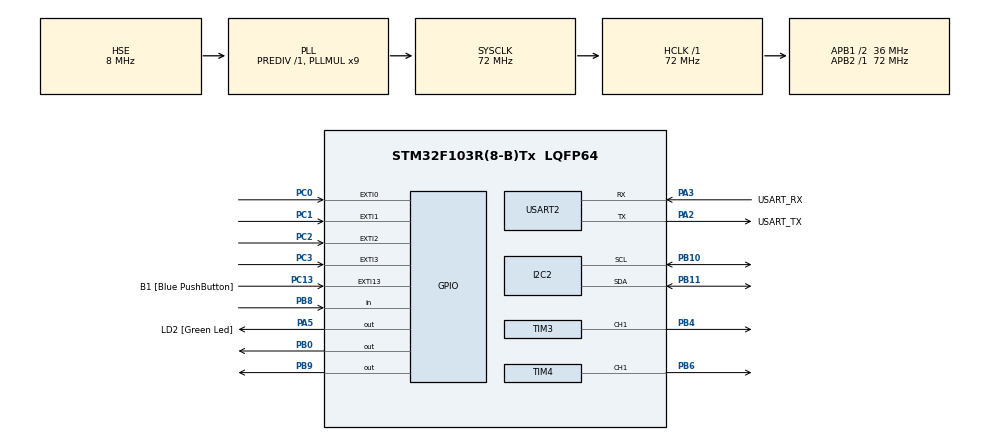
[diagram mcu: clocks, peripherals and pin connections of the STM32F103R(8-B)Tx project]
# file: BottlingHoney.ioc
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Dma.I2C2_TX.0.Direction=DMA_MEMORY_TO_PERIPH
Dma.I2C2_TX.0.Instance=DMA1_Channel4
Dma.I2C2_TX.0.MemDataAlignment=DMA_MDATAALIGN_BYTE
Dma.I2C2_TX.0.MemInc=DMA_MINC_DISABLE
Dma.I2C2_TX.0.Mode=DMA_NORMAL
Dma.I2C2_TX.0.PeriphDataAlignment=DMA_PDATAALIGN_BYTE
Dma.I2C2_TX.0.PeriphInc=DMA_PINC_DISABLE
Dma.I2C2_TX.0.Priority=DMA_PRIORITY_LOW
Dma.Request0=I2C2_TX
I2C2.I2C_Mode=I2C_Fast
Mcu.Family=STM32F1
Mcu.Name=STM32F103R(8-B)Tx
Mcu.Package=LQFP64
NVIC.DMA1_Channel4_IRQn=true\:0\:0\:false\:false\:true\:false\:true\:true
NVIC.EXTI0_IRQn=true\:0\:0\:false\:true\:true\:2\:true\:true\:true
NVIC.EXTI15_10_IRQn=true\:0\:0\:false\:true\:true\:1\:true\:true\:true
NVIC.EXTI1_IRQn=true\:1\:0\:true\:true\:true\:3\:true\:true\:true
NVIC.EXTI2_IRQn=true\:1\:0\:true\:true\:true\:4\:true\:true\:true
NVIC.EXTI3_IRQn=true\:1\:0\:true\:true\:true\:5\:true\:true\:true
NVIC.PriorityGroup=NVIC_PRIORITYGROUP_4
NVIC.TIM4_IRQn=true\:0\:0\:false\:false\:true\:true\:true\:true
PA13.GPIO_Label=TMS
PA13.Mode=Serial_Wire
PA13.Signal=SYS_JTMS-SWDIO
PA14.GPIO_Label=TCK
PA14.Mode=Serial_Wire
PA14.Signal=SYS_JTCK-SWCLK
PA2.GPIO_Label=USART_TX
PA2.GPIO_Mode=GPIO_MODE_AF_PP
PA2.GPIO_PuPd=GPIO_NOPULL
PA2.GPIO_Speed=GPIO_SPEED_FREQ_LOW
PA2.Mode=Asynchronous
PA2.Signal=USART2_TX
PA3.GPIO_Label=USART_RX
PA3.GPIO_Mode=GPIO_MODE_AF_PP
PA3.GPIO_PuPd=GPIO_NOPULL
PA3.GPIO_Speed=GPIO_SPEED_FREQ_LOW
PA3.Mode=Asynchronous
PA3.Signal=USART2_RX
PA5.GPIO_Label=LD2 [Green Led]
PA5.GPIO_ModeDefaultOutputPP=GPIO_MODE_OUTPUT_PP
PA5.GPIO_PuPd=GPIO_NOPULL
PA5.GPIO_Speed=GPIO_SPEED_FREQ_LOW
PA5.Signal=GPIO_Output
PB0.Signal=GPIO_Output
PB10.Mode=I2C
PB10.Signal=I2C2_SCL
PB11.Mode=I2C
PB11.Signal=I2C2_SDA
PB3.GPIO_Label=SWO
PB3.Signal=SYS_JTDO-TRACESWO
PB4.Signal=S_TIM3_CH1
PB6.Signal=S_TIM4_CH1
PB8.Signal=GPIO_Input
PB9.Signal=GPIO_Output
PC0.GPIO_ModeDefaultEXTI=GPIO_MODE_IT_FALLING
PC0.GPIO_PuPd=GPIO_PULLUP
PC0.Signal=GPXTI0
PC1.GPIO_ModeDefaultEXTI=GPIO_MODE_IT_FALLING
PC1.GPIO_PuPd=GPIO_PULLUP
PC1.Signal=GPXTI1
PC13-TAMPER-RTC.GPIO_Label=B1 [Blue PushButton]
PC13-TAMPER-RTC.GPIO_PuPd=GPIO_NOPULL
PC13-TAMPER-RTC.Signal=GPXTI13
PC14-OSC32_IN.Mode=LSE-External-Oscillator
PC14-OSC32_IN.Signal=RCC_OSC32_IN
PC15-OSC32_OUT.Mode=LSE-External-Oscillator
PC15-OSC32_OUT.Signal=RCC_OSC32_OUT
PC2.GPIO_ModeDefaultEXTI=GPIO_MODE_IT_FALLING
PC2.GPIO_PuPd=GPIO_PULLUP
PC2.Signal=GPXTI2
PC3.GPIO_ModeDefaultEXTI=GPIO_MODE_IT_FALLING
PC3.GPIO_PuPd=GPIO_PULLUP
PC3.Signal=GPXTI3
PD0-OSC_IN.Mode=HSE-External-Clock-Source
PD0-OSC_IN.Signal=RCC_OSC_IN
PD1-OSC_OUT.Mode=HSE-External-Clock-Source
PD1-OSC_OUT.Signal=RCC_OSC_OUT
ProjectManager.HeapSize=0x200
ProjectManager.StackSize=0x400
ProjectManager.TargetToolchain=STM32CubeIDE
RCC.AHBFreq_Value=72000000
RCC.APB1CLKDivider=RCC_HCLK_DIV2
RCC.APB1Freq_Value=36000000
RCC.APB1TimFreq_Value=72000000
RCC.APB2Freq_Value=72000000
RCC.APB2TimFreq_Value=72000000
RCC.HCLKFreq_Value=72000000
RCC.PLLMUL=RCC_PLL_MUL9
RCC.PLLSourceVirtual=RCC_PLLSOURCE_HSE
RCC.RTCClockSelection=RCC_RTCCLKSOURCE_LSE
RCC.SYSCLKFreq_VALUE=72000000
RCC.SYSCLKSource=RCC_SYSCLKSOURCE_PLLCLK
RCC.USBFreq_Value=72000000
SH.S_TIM3_CH1.0=TIM3_CH1,PWM Generation1 CH1
SH.S_TIM4_CH1.0=TIM4_CH1,PWM Generation1 CH1
TIM2.Prescaler=71
TIM3.Channel-PWM\ Generation1\ CH1=TIM_CHANNEL_1
TIM3.Period=20000
TIM3.Prescaler=71
TIM3.Pulse-PWM\ Generation1\ CH1=1000
TIM4.Channel-PWM\ Generation1\ CH1=TIM_CHANNEL_1
TIM4.Period=20000
TIM4.Prescaler=71
USART2.VirtualMode=VM_ASYNC
VP_TIM2_VS_ClockSourceINT.Mode=Internal
VP_TIM3_VS_ClockSourceINT.Mode=Internal
VP_TIM4_VS_ClockSourceINT.Mode=Internal
board=NUCLEO-F103RB

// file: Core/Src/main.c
/* USER CODE BEGIN Header */
/**
  ******************************************************************************
  * @file           : main.c
  * @brief          : Main program body
  ******************************************************************************
  * @attention
  *
  * Copyright (c) 2025 STMicroelectronics.
  * All rights reserved.
  *
  * This software is licensed under terms that can be found in the LICENSE file
  * in the root directory of this software component.
  * If no LICENSE file comes with this software, it is provided AS-IS.
  *
  ******************************************************************************
  */
/* USER CODE END Header */
#include "main.h"
#include "dma.h"
#include "i2c.h"
#include "tim.h"
#include "usart.h"
#include "gpio.h"

/* USER CODE BEGIN Includes */

#include "SSD1306_OLED.h"
//#include "fonts/fonts.h"
#include "GFX_BW.h"
#include <stdio.h>
#include <string.h>
#include "Eeprom.h"
#include "Servo.h"
#include "Honey_StateMachine.h"
#include "Button.h"

uint32_t tare = 0;
float knownOriginal = 1;  // in milli gram
float knownHX711 = 1;
int weight;

uint8_t Value;
uint8_t ToEeprom[] = {38,40};
uint8_t FromEeprom[2] = {};

TCalibration CallibrationTmp = {8731630,439};
TCalibration CallibrationTmp2;

THoney Honey;
extern TButton ButtonOne;
extern TButton ButtonTwo;
extern TButton ButtonThree;
extern TButton ButtonFour;

/* USER CODE END Includes */

void SystemClock_Config(void);
static void MX_NVIC_Init(void);

int main(void)
{

  /* MCU Configuration--------------------------------------------------------*/

  /* Reset of all peripherals, Initializes the Flash interface and the Systick. */
  HAL_Init();

  /* Configure the system clock */
  SystemClock_Config();

  /* Initialize all configured peripherals */
  MX_GPIO_Init();
  MX_DMA_Init();
  MX_USART2_UART_Init();
  MX_TIM2_Init();
  MX_TIM3_Init();
  MX_I2C2_Init();
  MX_TIM4_Init();

  /* Initialize interrupts */
  MX_NVIC_Init();
  /* USER CODE BEGIN 2 */
  HoneyInit(&Honey);
  /* USER CODE END 2 */

  /* Infinite loop */
  while (1)
  {

    /* USER CODE BEGIN 3 */
	  HoneyTask(&Honey);

  }
  /* USER CODE END 3 */
}

void SystemClock_Config(void)
{
  RCC_OscInitTypeDef RCC_OscInitStruct = {0};
  RCC_ClkInitTypeDef RCC_ClkInitStruct = {0};

  /** Initializes the RCC Oscillators according to the specified parameters
  * in the RCC_OscInitTypeDef structure.
  */
  RCC_OscInitStruct.OscillatorType = RCC_OSCILLATORTYPE_HSE;
  RCC_OscInitStruct.HSEState = RCC_HSE_BYPASS;
  RCC_OscInitStruct.HSEPredivValue = RCC_HSE_PREDIV_DIV1;
  RCC_OscInitStruct.HSIState = RCC_HSI_ON;
  RCC_OscInitStruct.PLL.PLLState = RCC_PLL_ON;
  RCC_OscInitStruct.PLL.PLLSource = RCC_PLLSOURCE_HSE;
  RCC_OscInitStruct.PLL.PLLMUL = RCC_PLL_MUL9;
  if (HAL_RCC_OscConfig(&RCC_OscInitStruct) != HAL_OK)
  {
    Error_Handler();
  }

  /** Initializes the CPU, AHB and APB buses clocks
  */
  RCC_ClkInitStruct.ClockType = RCC_CLOCKTYPE_HCLK|RCC_CLOCKTYPE_SYSCLK
                              |RCC_CLOCKTYPE_PCLK1|RCC_CLOCKTYPE_PCLK2;
  RCC_ClkInitStruct.SYSCLKSource = RCC_SYSCLKSOURCE_PLLCLK;
  RCC_ClkInitStruct.AHBCLKDivider = RCC_SYSCLK_DIV1;
  RCC_ClkInitStruct.APB1CLKDivider = RCC_HCLK_DIV2;
  RCC_ClkInitStruct.APB2CLKDivider = RCC_HCLK_DIV1;

  if (HAL_RCC_ClockConfig(&RCC_ClkInitStruct, FLASH_LATENCY_2) != HAL_OK)
  {
    Error_Handler();
  }
}

/**
  * @brief NVIC Configuration.
  * @retval None
  */
static void MX_NVIC_Init(void)
{
  /* EXTI15_10_IRQn interrupt configuration */
  HAL_NVIC_SetPriority(EXTI15_10_IRQn, 0, 0);
  HAL_NVIC_EnableIRQ(EXTI15_10_IRQn);
  /* EXTI0_IRQn interrupt configuration */
  HAL_NVIC_SetPriority(EXTI0_IRQn, 0, 0);
  HAL_NVIC_EnableIRQ(EXTI0_IRQn);
  /* EXTI1_IRQn interrupt configuration */
  HAL_NVIC_SetPriority(EXTI1_IRQn, 1, 0);
  HAL_NVIC_EnableIRQ(EXTI1_IRQn);
  /* EXTI2_IRQn interrupt configuration */
  HAL_NVIC_SetPriority(EXTI2_IRQn, 1, 0);
  HAL_NVIC_EnableIRQ(EXTI2_IRQn);
  /* EXTI3_IRQn interrupt configuration */
  HAL_NVIC_SetPriority(EXTI3_IRQn, 1, 0);
  HAL_NVIC_EnableIRQ(EXTI3_IRQn);
}

/* USER CODE BEGIN 4 */
void HAL_GPIO_EXTI_Callback(uint16_t GPIO_Pin)
{
	if(GPIO_Pin== GPIO_PIN_0)
	{
		ButtonHandleIRQ(&ButtonFour);
	}
	else if(GPIO_Pin== GPIO_PIN_1)
	{
		ButtonHandleIRQ(&ButtonThree);
	}
	else if(GPIO_Pin== GPIO_PIN_3)
	{
		ButtonHandleIRQ(&ButtonTwo);
	}
	else if(GPIO_Pin== GPIO_PIN_2)
	{
		ButtonHandleIRQ(&ButtonOne);
	}
}

/* USER CODE END 4 */

void Error_Handler(void)
{
  __disable_irq();
  while (1)
  {
  }
}
